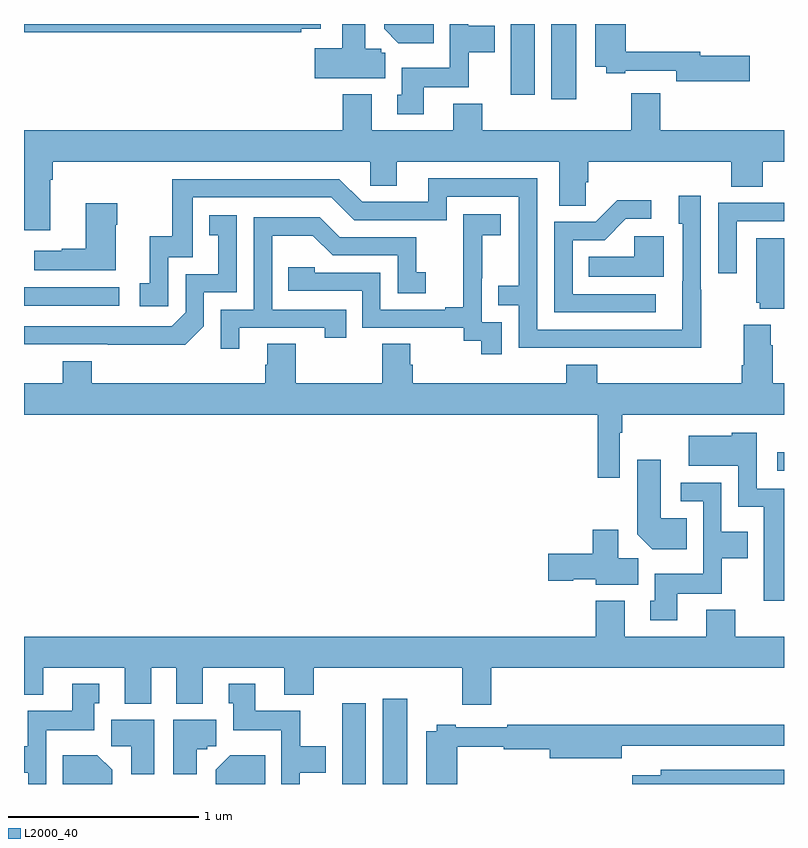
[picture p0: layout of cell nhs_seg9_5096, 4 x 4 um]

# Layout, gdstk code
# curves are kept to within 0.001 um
import gdstk
lib = gdstk.Library(unit=1e-6, precision=1e-09)
def R(c, l, rs):  # rectangles x0, y0, x1, y1
    for r in rs: c.add(gdstk.rectangle(r[:2], r[2:], *l))
def P(c, l, *ps):  # polygons
    for p in ps: c.add(gdstk.Polygon(p, *l))
L2000_40 = (2000, 40)

nhs_seg9_5096 = lib.new_cell('nhs_seg9_5096')
R(nhs_seg9_5096, L2000_40, [(408.674,1170.5,408.799,1170.925), (408.887,1170.5,409.018,1170.949), (410.964,1172.148,411,1172.245), (407,1173.018,407.5,1173.114), (409.775,1174.104,409.906,1174.5), (409.562,1174.128,409.687,1174.5)])
P(nhs_seg9_5096, L2000_40, [(408.9,1174.35),(408.879,1174.35),(408.879,1174.37),(408.796,1174.37),(408.796,1174.5),(408.674,1174.5),(408.674,1174.372),(408.531,1174.372),(408.531,1174.214),(408.9,1174.214)],
  [(410.821,1174.334),(410.56,1174.334),(410.56,1174.355),(410.168,1174.355),(410.168,1174.5),(410.006,1174.5),(410.006,1174.274),(410.064,1174.274),(410.064,1174.242),(410.164,1174.242),(410.164,1174.254),(410.432,1174.254),(410.432,1174.199),(410.821,1174.199)],
  [(409.105,1174.166),(409.341,1174.166),(409.341,1174.352),(409.477,1174.352),(409.477,1174.492),(409.338,1174.492),(409.338,1174.5),(409.242,1174.5),(409.242,1174.27),(408.989,1174.27),(408.989,1174.128),(408.965,1174.128),(408.965,1174.026),(409.105,1174.026)],
  [(408.458,1174.476),(408.561,1174.476),(408.561,1174.5),(407,1174.5),(407,1174.456),(408.458,1174.456)],
  [(409.157,1174.5),(408.896,1174.5),(408.896,1174.474),(408.97,1174.4),(409.157,1174.4)],
  [(410.195,1174.135),(410.195,1173.94),(409.412,1173.94),(409.412,1174.081),(409.259,1174.081),(409.259,1173.94),(408.829,1173.94),(408.829,1174.129),(408.677,1174.129),(408.677,1173.94),(407,1173.94),(407,1173.414),(407.137,1173.414),(407.137,1173.68),(407.15,1173.68),(407.15,1173.776),(408.822,1173.776),(408.822,1173.649),(408.961,1173.649),(408.961,1173.776),(409.817,1173.776),(409.817,1173.544),(409.956,1173.544),(409.956,1173.667),(409.97,1173.667),(409.97,1173.776),(410.723,1173.776),(410.723,1173.643),(410.888,1173.643),(410.888,1173.776),(411,1173.776),(411,1173.94),(410.348,1173.94),(410.348,1174.135)],
  [(410.565,1173.101),(410.562,1173.101),(410.562,1173.595),(410.447,1173.595),(410.447,1173.45),(410.466,1173.45),(410.465,1172.892),(409.701,1172.892),(409.701,1173.687),(409.127,1173.687),(409.127,1173.564),(408.78,1173.564),(408.66,1173.684),(407.781,1173.684),(407.781,1173.382),(407.663,1173.382),(407.663,1173.135),(407.61,1173.135),(407.61,1173.015),(407.76,1173.015),(407.76,1173.273),(407.889,1173.273),(407.889,1173.588),(408.618,1173.588),(408.738,1173.468),(409.224,1173.468),(409.224,1173.591),(409.605,1173.591),(409.605,1173.122),(409.495,1173.122),(409.495,1173.021),(409.605,1173.021),(409.605,1172.796),(410.565,1172.795)],
  [(410.326,1173.078),(409.887,1173.078),(409.887,1173.363),(410.056,1173.363),(410.167,1173.474),(410.302,1173.474),(410.302,1173.572),(410.123,1173.572),(410.01,1173.459),(409.791,1173.459),(409.791,1172.982),(410.326,1172.982)],
  [(410.751,1173.462),(411,1173.462),(411,1173.56),(410.971,1173.56),(410.971,1173.558),(410.655,1173.558),(410.655,1173.189),(410.751,1173.189)],
  [(407.482,1173.443),(407.49,1173.443),(407.49,1173.556),(407.324,1173.556),(407.324,1173.317),(407.198,1173.317),(407.198,1173.307),(407.055,1173.307),(407.055,1173.203),(407.482,1173.203)],
  [(409.515,1172.931),(409.41,1172.931),(409.41,1173.161),(409.412,1173.161),(409.412,1173.389),(409.51,1173.389),(409.51,1173.499),(409.312,1173.499),(409.312,1173.293),(409.313,1173.293),(409.313,1173.01),(409.217,1173.01),(409.217,1172.997),(408.876,1172.997),(408.876,1173.192),(408.531,1173.192),(408.531,1173.219),(408.391,1173.219),(408.391,1173.096),(408.78,1173.096),(408.78,1172.901),(409.314,1172.901),(409.314,1172.833),(409.407,1172.833),(409.407,1172.763),(409.515,1172.763)],
  [(407.946,1172.91),(407.946,1173.087),(408.12,1173.087),(408.12,1173.493),(407.974,1173.493),(407.974,1173.387),(408.023,1173.387),(408.023,1173.183),(407.85,1173.183),(407.85,1172.982),(407.778,1172.91),(407,1172.91),(407,1172.814),(407.848,1172.813)],
  [(408.133,1172.901),(408.584,1172.901),(408.584,1172.85),(408.695,1172.85),(408.695,1172.997),(408.306,1172.997),(408.306,1173.386),(408.52,1173.386),(408.624,1173.282),(408.966,1173.282),(408.966,1173.084),(409.114,1173.084),(409.114,1173.193),(409.065,1173.193),(409.065,1173.378),(408.661,1173.378),(408.556,1173.483),(408.21,1173.483),(408.21,1172.997),(408.036,1172.997),(408.036,1172.79),(408.133,1172.79)],
  [(410.368,1173.382),(410.211,1173.382),(410.211,1173.274),(409.972,1173.274),(409.972,1173.17),(410.368,1173.17)],
  [(411,1173.373),(410.855,1173.373),(410.855,1173.033),(410.873,1173.033),(410.873,1173.002),(411,1173.002)],
  [(410.136,1172.348),(410.149,1172.348),(410.149,1172.444),(411,1172.444),(411,1172.608),(410.942,1172.608),(410.942,1172.81),(410.929,1172.81),(410.929,1172.917),(410.789,1172.917),(410.789,1172.704),(410.777,1172.704),(410.777,1172.608),(410.018,1172.608),(410.018,1172.707),(409.853,1172.707),(409.853,1172.608),(409.046,1172.608),(409.046,1172.706),(409.033,1172.706),(409.033,1172.816),(408.886,1172.816),(408.886,1172.608),(408.429,1172.608),(408.429,1172.816),(408.281,1172.816),(408.281,1172.706),(408.269,1172.706),(408.269,1172.608),(407.357,1172.608),(407.357,1172.725),(407.204,1172.725),(407.204,1172.608),(407,1172.608),(407,1172.444),(410.02,1172.444),(410.02,1172.112),(410.136,1172.112)],
  [(411,1172.055),(410.856,1172.055),(410.856,1172.35),(410.724,1172.35),(410.724,1172.332),(410.499,1172.332),(410.499,1172.174),(410.76,1172.174),(410.76,1171.958),(410.894,1171.958),(410.894,1171.464),(411,1171.464)],
  [(410.489,1171.9),(410.35,1171.9),(410.35,1172.206),(410.228,1172.206),(410.228,1171.814),(410.306,1171.736),(410.489,1171.736)],
  [(410.437,1171.502),(410.673,1171.502),(410.673,1171.688),(410.809,1171.688),(410.809,1171.828),(410.67,1171.828),(410.67,1172.085),(410.457,1172.085),(410.457,1171.989),(410.574,1171.989),(410.574,1171.606),(410.321,1171.606),(410.321,1171.464),(410.297,1171.464),(410.297,1171.362),(410.437,1171.362)],
  [(410.233,1171.688),(410.128,1171.688),(410.128,1171.837),(409.994,1171.837),(409.994,1171.712),(409.758,1171.712),(409.758,1171.57),(409.89,1171.57),(409.89,1171.577),(410.01,1171.577),(410.01,1171.55),(410.233,1171.55)],
  [(409.46,1171.112),(411,1171.112),(411,1171.276),(410.744,1171.276),(410.744,1171.417),(410.591,1171.417),(410.591,1171.276),(410.161,1171.276),(410.161,1171.465),(410.009,1171.465),(410.009,1171.276),(407,1171.276),(407,1170.971),(407.101,1170.971),(407.101,1171.112),(407.531,1171.112),(407.531,1170.923),(407.671,1170.923),(407.671,1171.112),(407.801,1171.112),(407.801,1170.923),(407.941,1170.923),(407.941,1171.112),(408.371,1171.112),(408.371,1170.971),(408.524,1170.971),(408.524,1171.112),(409.307,1171.112),(409.307,1170.918),(409.46,1170.918)],
  [(408.45,1170.56),(408.589,1170.56),(408.589,1170.7),(408.453,1170.7),(408.453,1170.886),(408.217,1170.886),(408.217,1171.027),(408.077,1171.027),(408.077,1170.924),(408.101,1170.924),(408.101,1170.782),(408.354,1170.782),(408.354,1170.5),(408.45,1170.5)],
  [(407.118,1170.782),(407.371,1170.782),(407.371,1170.924),(407.395,1170.924),(407.395,1171.027),(407.255,1171.027),(407.255,1170.886),(407.02,1170.886),(407.02,1170.7),(407,1170.7),(407,1170.56),(407.022,1170.56),(407.022,1170.5),(407.118,1170.5)],
  [(407.686,1170.838),(407.459,1170.838),(407.459,1170.7),(407.564,1170.7),(407.564,1170.552),(407.686,1170.552)],
  [(407.908,1170.683),(407.964,1170.683),(407.964,1170.7),(408.013,1170.7),(408.013,1170.838),(407.786,1170.838),(407.786,1170.552),(407.908,1170.552)],
  [(409.28,1170.697),(409.524,1170.697),(409.524,1170.682),(409.766,1170.682),(409.766,1170.635),(410.146,1170.635),(410.146,1170.702),(411,1170.702),(411,1170.811),(409.543,1170.811),(409.543,1170.798),(409.273,1170.798),(409.273,1170.811),(409.173,1170.811),(409.173,1170.778),(409.118,1170.778),(409.118,1170.5),(409.28,1170.5)],
  [(408.269,1170.652),(408.086,1170.652),(408.008,1170.574),(408.008,1170.5),(408.269,1170.5)],
  [(407.464,1170.574),(407.386,1170.652),(407.203,1170.652),(407.203,1170.5),(407.464,1170.5)],
  [(411,1170.576),(410.351,1170.576),(410.351,1170.547),(410.202,1170.547),(410.202,1170.5),(411,1170.5)])

lib.write_gds('nhs_seg9_5096.gds')
